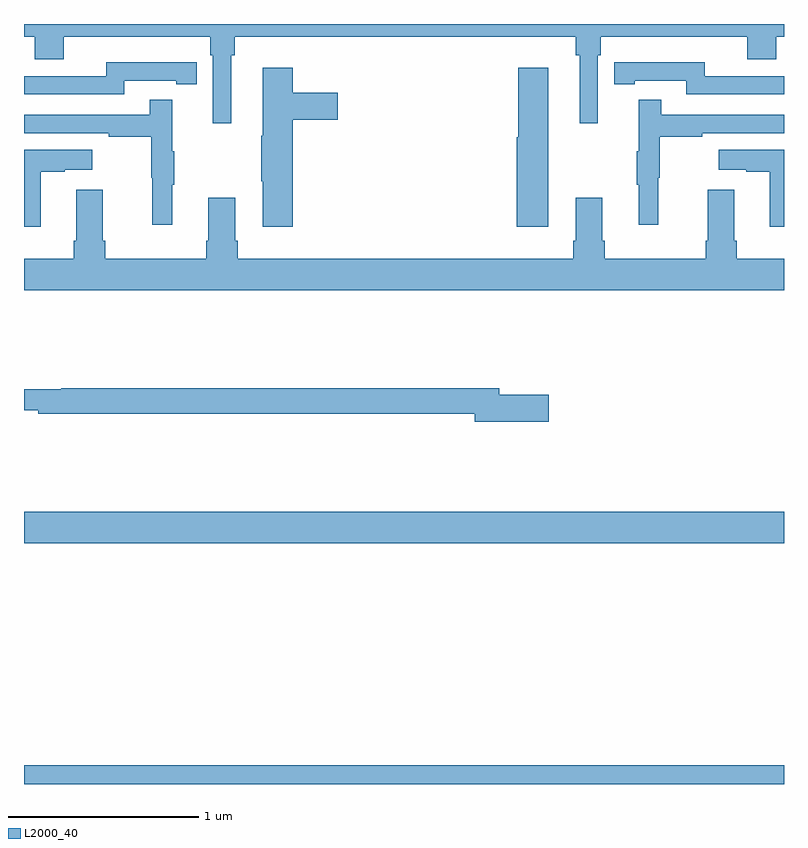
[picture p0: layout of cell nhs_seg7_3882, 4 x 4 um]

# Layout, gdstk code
import gdstk
lib = gdstk.Library(unit=1e-6, precision=1e-09)
def R(c, l, rs):  # rectangles x0, y0, x1, y1
    for r in rs: c.add(gdstk.rectangle(r[:2], r[2:], *l))
def P(c, l, *ps):  # polygons
    for p in ps: c.add(gdstk.Polygon(p, *l))
L2000_40 = (2000, 40)

nhs_seg7_3882 = lib.new_cell('nhs_seg7_3882')
R(nhs_seg7_3882, L2000_40, [(357,1014,361,1014.1), (357,1015.268,361,1015.432)])
P(nhs_seg7_3882, L2000_40, [(359.905,1017.836),(359.924,1017.836),(359.924,1017.477),(360.021,1017.477),(360.021,1017.836),(360.035,1017.836),(360.035,1017.932),(360.806,1017.932),(360.806,1017.815),(360.959,1017.815),(360.959,1017.932),(361,1017.932),(361,1018),(357,1018),(357,1017.932),(357.056,1017.932),(357.056,1017.815),(357.208,1017.815),(357.208,1017.932),(357.98,1017.932),(357.98,1017.836),(357.993,1017.836),(357.993,1017.477),(358.09,1017.477),(358.09,1017.836),(358.109,1017.836),(358.109,1017.932),(359.905,1017.932)],
  [(357.528,1017.702),(357.8,1017.702),(357.8,1017.682),(357.908,1017.682),(357.908,1017.798),(357.8,1017.798),(357.8,1017.799),(357.432,1017.799),(357.432,1017.726),(357,1017.726),(357,1017.63),(357.528,1017.63)],
  [(361,1017.726),(360.582,1017.726),(360.582,1017.799),(360.214,1017.799),(360.214,1017.798),(360.106,1017.798),(360.106,1017.682),(360.214,1017.682),(360.214,1017.702),(360.486,1017.702),(360.486,1017.63),(361,1017.63)],
  [(358.415,1017.497),(358.651,1017.497),(358.651,1017.639),(358.415,1017.639),(358.415,1017.769),(358.256,1017.769),(358.256,1017.413),(358.249,1017.413),(358.249,1017.172),(358.256,1017.172),(358.256,1016.934),(358.415,1016.934)],
  [(359.758,1017.769),(359.6,1017.769),(359.6,1017.405),(359.594,1017.405),(359.594,1016.934),(359.758,1016.934)],
  [(357.779,1017.155),(357.79,1017.155),(357.79,1017.329),(357.779,1017.329),(357.779,1017.601),(357.661,1017.601),(357.661,1017.522),(357,1017.522),(357,1017.426),(357.445,1017.426),(357.445,1017.406),(357.669,1017.406),(357.669,1017.192),(357.676,1017.192),(357.676,1016.943),(357.779,1016.943)],
  [(360.338,1017.192),(360.346,1017.192),(360.346,1017.406),(360.569,1017.406),(360.569,1017.426),(361,1017.426),(361,1017.522),(360.353,1017.522),(360.353,1017.601),(360.236,1017.601),(360.236,1017.329),(360.225,1017.329),(360.225,1017.155),(360.236,1017.155),(360.236,1016.943),(360.338,1016.943)],
  [(361,1017.337),(360.657,1017.337),(360.657,1017.233),(360.8,1017.233),(360.8,1017.223),(360.926,1017.223),(360.926,1016.934),(361,1016.934)],
  [(357.088,1017.223),(357.215,1017.223),(357.215,1017.233),(357.358,1017.233),(357.358,1017.337),(357,1017.337),(357,1016.934),(357.088,1016.934)],
  [(361,1016.764),(360.752,1016.764),(360.752,1016.86),(360.739,1016.86),(360.739,1017.127),(360.599,1017.127),(360.599,1016.86),(360.587,1016.86),(360.587,1016.764),(360.056,1016.764),(360.056,1016.86),(360.043,1016.86),(360.043,1017.085),(359.903,1017.085),(359.903,1016.86),(359.891,1016.86),(359.891,1016.764),(358.124,1016.764),(358.124,1016.86),(358.111,1016.86),(358.111,1017.085),(357.971,1017.085),(357.971,1016.86),(357.959,1016.86),(357.959,1016.764),(357.428,1016.764),(357.428,1016.86),(357.415,1016.86),(357.415,1017.127),(357.275,1017.127),(357.275,1016.86),(357.263,1016.86),(357.263,1016.764),(357,1016.764),(357,1016.6),(361,1016.6)],
  [(359.761,1016.048),(359.5,1016.048),(359.5,1016.084),(357.196,1016.084),(357.196,1016.077),(357,1016.077),(357,1015.967),(357.076,1015.967),(357.076,1015.948),(359.372,1015.948),(359.372,1015.906),(359.761,1015.906)])

lib.write_gds('nhs_seg7_3882.gds')
